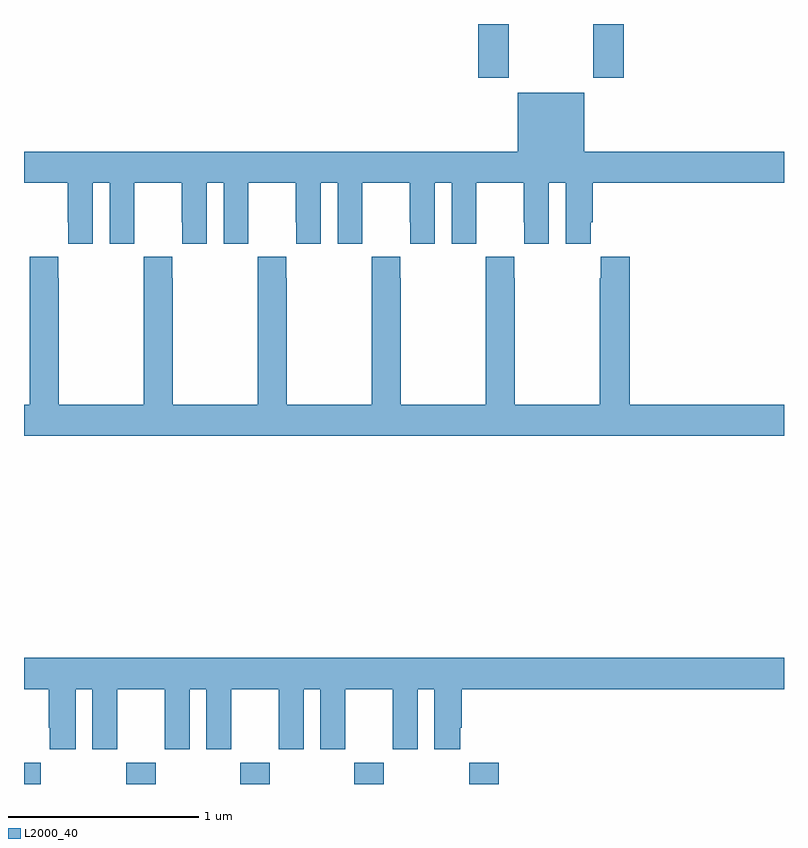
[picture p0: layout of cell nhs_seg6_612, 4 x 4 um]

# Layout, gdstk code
import gdstk
lib = gdstk.Library(unit=1e-6, precision=1e-09)
def R(c, l, rs):  # rectangles x0, y0, x1, y1
    for r in rs: c.add(gdstk.rectangle(r[:2], r[2:], *l))
def A(c, l, x, y, w, h, nx, ny, dx, dy):  # array of equal rectangles
    R(c, l, [(x+i*dx, y+j*dy, x+i*dx+w, y+j*dy+h) for i in range(nx) for j in range(ny)])
def P(c, l, *ps):  # polygons
    for p in ps: c.add(gdstk.Polygon(p, *l))
L2000_40 = (2000, 40)

nhs_seg6_612 = lib.new_cell('nhs_seg6_612')
A(nhs_seg6_612, L2000_40, 149.539, 949.5, 0.155, 0.112, 3, 1, 0.6, 0)
R(nhs_seg6_612, L2000_40, [(149,949.5,149.089,949.612), (151.343,949.5,151.499,949.612), (151.391,953.217,151.551,953.5), (151.996,953.217,152.156,953.5)])
P(nhs_seg6_612, L2000_40, [(149.362,952.664),(149.45,952.664),(149.45,952.344),(149.58,952.344),(149.58,952.456),(149.581,952.456),(149.581,952.664),(149.831,952.664),(149.831,952.456),(149.832,952.456),(149.832,952.344),(149.962,952.344),(149.962,952.664),(150.05,952.664),(150.05,952.344),(150.18,952.344),(150.18,952.456),(150.181,952.456),(150.181,952.664),(150.431,952.664),(150.431,952.456),(150.432,952.456),(150.432,952.344),(150.562,952.344),(150.562,952.664),(150.65,952.664),(150.65,952.344),(150.78,952.344),(150.78,952.456),(150.781,952.456),(150.781,952.664),(151.031,952.664),(151.031,952.456),(151.032,952.456),(151.032,952.344),(151.162,952.344),(151.162,952.664),(151.25,952.664),(151.25,952.344),(151.38,952.344),(151.38,952.456),(151.381,952.456),(151.381,952.664),(151.631,952.664),(151.631,952.456),(151.632,952.456),(151.632,952.344),(151.762,952.344),(151.762,952.664),(151.85,952.664),(151.85,952.344),(151.984,952.344),(151.984,952.456),(151.994,952.456),(151.994,952.664),(153,952.664),(153,952.828),(151.948,952.828),(151.948,953.137),(151.598,953.137),(151.598,952.828),(149,952.828),(149,952.664),(149.231,952.664),(149.231,952.456),(149.232,952.456),(149.232,952.344),(149.362,952.344)],
  [(153,951.496),(152.189,951.496),(152.189,952.276),(152.035,952.276),(152.035,952.163),(152.029,952.163),(152.029,951.496),(151.584,951.496),(151.584,952.163),(151.581,952.163),(151.581,952.276),(151.431,952.276),(151.431,952.163),(151.429,952.163),(151.429,951.496),(150.984,951.496),(150.984,952.163),(150.981,952.163),(150.981,952.276),(150.831,952.276),(150.831,952.163),(150.829,952.163),(150.829,951.496),(150.384,951.496),(150.384,952.163),(150.381,952.163),(150.381,952.276),(150.231,952.276),(150.231,952.163),(150.229,952.163),(150.229,951.496),(149.784,951.496),(149.784,952.163),(149.781,952.163),(149.781,952.276),(149.631,952.276),(149.631,952.163),(149.629,952.163),(149.629,951.496),(149.184,951.496),(149.184,952.163),(149.181,952.163),(149.181,952.276),(149.031,952.276),(149.031,952.163),(149.029,952.163),(149.029,951.496),(149,951.496),(149,951.332),(153,951.332)],
  [(149.272,950),(149.36,950),(149.36,949.683),(149.491,949.683),(149.491,950),(149.741,950),(149.741,949.683),(149.872,949.683),(149.872,950),(149.96,950),(149.96,949.683),(150.091,949.683),(150.091,950),(150.341,950),(150.341,949.683),(150.472,949.683),(150.472,950),(150.56,950),(150.56,949.683),(150.691,949.683),(150.691,950),(150.941,950),(150.941,949.683),(151.072,949.683),(151.072,950),(151.16,950),(151.16,949.683),(151.297,949.683),(151.297,949.795),(151.304,949.795),(151.304,950),(153,950),(153,950.164),(149,950.164),(149,950),(149.129,950),(149.129,949.795),(149.135,949.795),(149.135,949.683),(149.272,949.683)])

lib.write_gds('nhs_seg6_612.gds')
